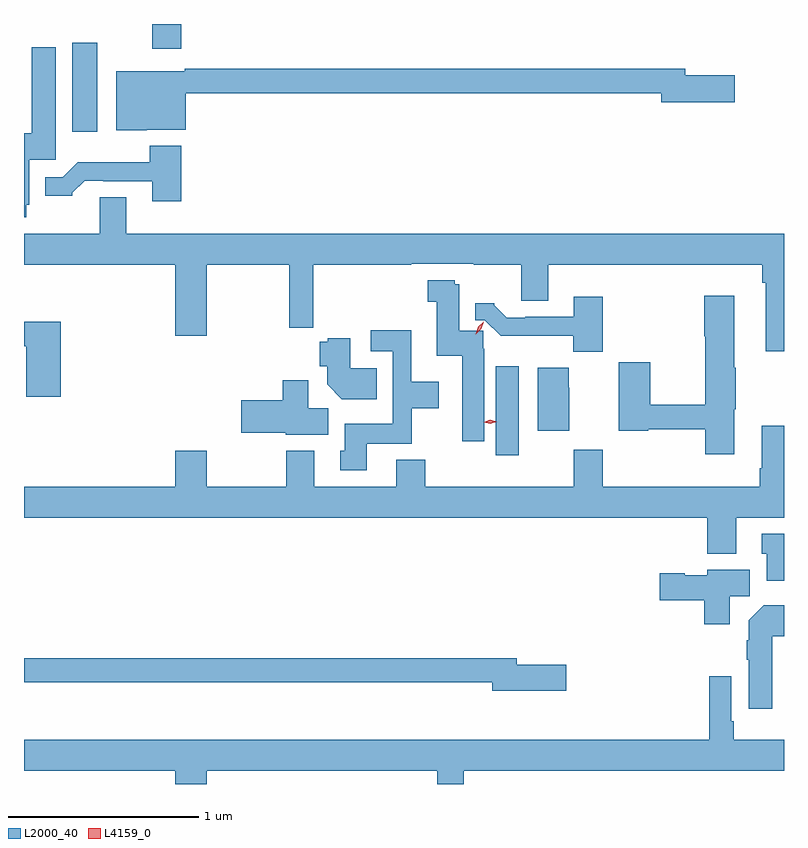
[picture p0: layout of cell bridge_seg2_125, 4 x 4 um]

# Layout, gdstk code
import gdstk
lib = gdstk.Library(unit=1e-6, precision=1e-09)
def R(c, l, rs):  # rectangles x0, y0, x1, y1
    for r in rs: c.add(gdstk.rectangle(r[:2], r[2:], *l))
def P(c, l, *ps):  # polygons
    for p in ps: c.add(gdstk.Polygon(p, *l))
L2000_40 = (2000, 40)
L4159_0 = (4159, 0)

bridge_seg2_125 = lib.new_cell('bridge_seg2_125')
R(bridge_seg2_125, L2000_40, [(490.371,643.968,490.492,644.437), (488.141,645.672,488.272,646.141), (488.561,646.11,488.714,646.239)])
P(bridge_seg2_125, L2000_40, [(487.899,645.288),(487.915,645.288),(487.915,645.525),(488.053,645.525),(488.053,646.117),(487.928,646.117),(487.928,645.664),(487.887,645.664),(487.887,645.222),(487.899,645.222)],
  [(488.532,645.683),(488.737,645.683),(488.737,645.874),(491.24,645.874),(491.24,645.827),(491.629,645.827),(491.629,645.969),(491.368,645.969),(491.368,646.003),(488.733,646.003),(488.733,645.991),(488.372,645.991),(488.372,645.68),(488.532,645.68)],
  [(488.714,645.598),(488.549,645.598),(488.549,645.511),(488.17,645.511),(488.091,645.432),(488,645.432),(488,645.335),(488.142,645.335),(488.142,645.35),(488.206,645.414),(488.305,645.414),(488.305,645.411),(488.561,645.411),(488.561,645.306),(488.714,645.306)],
  [(491.887,645.136),(488.425,645.136),(488.425,645.326),(488.285,645.326),(488.285,645.136),(487.887,645.136),(487.887,644.972),(488.684,644.972),(488.684,644.598),(488.848,644.598),(488.848,644.972),(489.282,644.972),(489.282,644.64),(489.409,644.64),(489.409,644.752),(489.41,644.752),(489.41,644.972),(489.924,644.972),(489.924,644.976),(490.253,644.976),(490.253,644.972),(490.505,644.972),(490.505,644.782),(490.645,644.782),(490.645,644.972),(491.773,644.972),(491.773,644.876),(491.792,644.876),(491.792,644.517),(491.887,644.517)],
  [(490.309,644.53),(490.305,644.53),(490.305,644.624),(490.177,644.624),(490.177,644.87),(490.153,644.87),(490.153,644.891),(490.012,644.891),(490.012,644.778),(490.059,644.778),(490.059,644.494),(490.194,644.494),(490.194,644.042),(490.309,644.042)],
  [(491.626,644.211),(491.634,644.211),(491.634,644.429),(491.626,644.429),(491.626,644.809),(491.468,644.809),(491.468,644.596),(491.473,644.596),(491.473,644.234),(491.184,644.234),(491.184,644.458),(491.018,644.458),(491.018,644.098),(491.172,644.098),(491.172,644.106),(491.473,644.106),(491.473,643.974),(491.626,643.974)],
  [(490.934,644.803),(490.781,644.803),(490.781,644.697),(490.525,644.697),(490.525,644.694),(490.427,644.694),(490.362,644.759),(490.362,644.77),(490.262,644.77),(490.262,644.681),(490.313,644.681),(490.396,644.598),(490.779,644.598),(490.779,644.513),(490.934,644.513)],
  [(488.081,644.671),(487.887,644.671),(487.887,644.542),(487.898,644.542),(487.898,644.277),(488.081,644.277)],
  [(489.691,644.03),(489.929,644.03),(489.929,644.216),(490.069,644.216),(490.069,644.356),(489.925,644.356),(489.925,644.626),(489.711,644.626),(489.711,644.517),(489.828,644.517),(489.828,644.134),(489.575,644.134),(489.575,643.992),(489.551,643.992),(489.551,643.89),(489.691,643.89)],
  [(489.743,644.428),(489.604,644.428),(489.604,644.586),(489.486,644.586),(489.486,644.566),(489.444,644.566),(489.444,644.438),(489.482,644.438),(489.482,644.342),(489.56,644.264),(489.743,644.264)],
  [(490.756,644.324),(490.754,644.324),(490.754,644.431),(490.592,644.431),(490.592,644.097),(490.756,644.097)],
  [(489.487,644.216),(489.382,644.216),(489.382,644.365),(489.248,644.365),(489.248,644.258),(489.03,644.258),(489.03,644.087),(489.264,644.087),(489.264,644.078),(489.487,644.078)],
  [(491.635,643.64),(491.887,643.64),(491.887,644.125),(491.771,644.125),(491.771,643.9),(491.759,643.9),(491.759,643.804),(490.934,643.804),(490.934,643.999),(490.781,643.999),(490.781,643.804),(489.998,643.804),(489.998,643.945),(489.845,643.945),(489.845,643.804),(489.415,643.804),(489.415,643.993),(489.268,643.993),(489.268,643.804),(488.848,643.804),(488.848,643.993),(488.684,643.993),(488.684,643.804),(487.887,643.804),(487.887,643.64),(491.483,643.64),(491.483,643.451),(491.635,643.451)],
  [(491.887,643.555),(491.771,643.555),(491.771,643.452),(491.795,643.452),(491.795,643.31),(491.887,643.31)],
  [(491.602,643.228),(491.707,643.228),(491.707,643.366),(491.484,643.366),(491.484,643.339),(491.364,643.339),(491.364,643.347),(491.232,643.347),(491.232,643.205),(491.468,643.205),(491.468,643.08),(491.602,643.08)],
  [(491.824,643.016),(491.887,643.016),(491.887,643.18),(491.78,643.18),(491.702,643.102),(491.702,642.995),(491.69,642.995),(491.69,642.892),(491.702,642.892),(491.702,642.636),(491.824,642.636)],
  [(490.741,642.866),(490.48,642.866),(490.48,642.902),(487.887,642.902),(487.887,642.774),(490.352,642.774),(490.352,642.731),(490.741,642.731)],
  [(488.848,642.308),(490.061,642.308),(490.061,642.239),(490.201,642.239),(490.201,642.308),(491.887,642.308),(491.887,642.472),(491.623,642.472),(491.623,642.568),(491.61,642.568),(491.61,642.805),(491.494,642.805),(491.494,642.472),(487.887,642.472),(487.887,642.308),(488.684,642.308),(488.684,642.239),(488.848,642.239)])
P(bridge_seg2_125, L4159_0, [(490.264,644.607),(490.264,644.607),(490.277,644.645),(490.307,644.672),(490.307,644.672),(490.307,644.672),(490.294,644.634),(490.264,644.607)],
  [(490.34,644.135),(490.306,644.144),(490.306,644.144),(490.306,644.144),(490.34,644.155),(490.374,644.146),(490.374,644.146),(490.374,644.145)])

lib.write_gds('bridge_seg2_125.gds')
